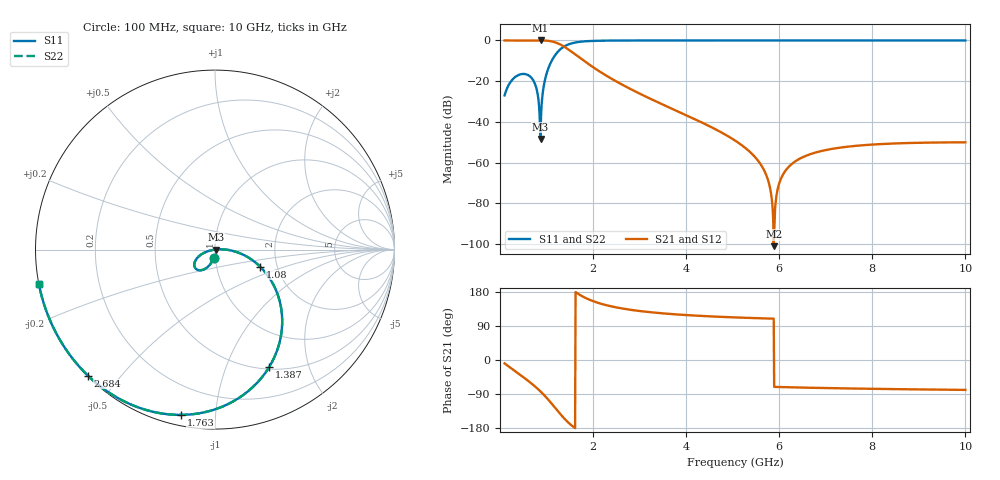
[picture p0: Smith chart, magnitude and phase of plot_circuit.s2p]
!Created with skrf (http://scikit-rf.org).
# GHz S RI R 50.0
!freq ReS11 ImS11 ReS21 ImS21 ReS12 ImS12 ReS22 ImS22
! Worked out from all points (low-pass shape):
!   1001 points, 100 MHz to 10 GHz, reference 50 ohm
!   highest |S21| = 0.00 dB at 872.2 MHz (marker M1); lowest = -101.0 dB at 5.882 GHz (marker M2)
!   |S21| within 3 dB of the highest: start of sweep to 1.376 GHz
!   lowest |S11| = -48.3 dB at 872.2 MHz (marker M3), VSWR 1.01, Z = 50.4 + j0.0464 ohm
!   |S11| at or under -10 dB: start of sweep to 1.111 GHz
!   |S22| runs from -48.3 to 0.0 dB; largest |S21 - S12| = 9e-16
!   S11 on the Smith chart (normalised r, x): 100 MHz: 0.98, -0.09; 1.08 GHz: 1.63, -0.33; 1.387 GHz: 0.53, -1.43; 1.763 GHz: 0.05, -0.82; 2.684 GHz: 0.00, -0.41; 10 GHz: 0.00, -0.10
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0.1  -0.00699 -0.0442  0.9867 -0.1562  0.9867 -0.1562  -0.00699 -0.0442
0.3178  -0.0593 -0.1091  0.8718 -0.4739  0.8718 -0.4739  -0.0593 -0.1091
0.5851  -0.1155 -0.0872  0.5961 -0.7897  0.5961 -0.7897  -0.1155 -0.0872
0.7435  -0.0847 -0.033  0.3615 -0.9279  0.3615 -0.9279  -0.0847 -0.033
0.793  -0.0582 -0.0166  0.2745 -0.9597  0.2745 -0.9597  -0.0582 -0.0166
0.8326  -0.0302 -0.00616  0.1996 -0.9794  0.1996 -0.9794  -0.0302 -0.00616
0.8722  0.00381 0.000461  0.1201 -0.9927  0.1201 -0.9927  0.00381 0.000461
0.9712  0.1127 -0.0109  -0.0956 -0.989  -0.0956 -0.989  0.1127 -0.0109
1.0801  0.2505 -0.0943  -0.3395 -0.9017  -0.3395 -0.9017  0.2505 -0.0943
1.387  0.3034 -0.6517  -0.6302 -0.2934  -0.6302 -0.2934  0.3034 -0.6517
1.7533  -0.1754 -0.9206  -0.3427 0.0653  -0.3427 0.0653  -0.1754 -0.9206
1.7632  -0.1867 -0.9209  -0.3354 0.068  -0.3354 0.068  -0.1867 -0.9209
2.6839  -0.708 -0.7022  -0.0534 0.0538  -0.0534 0.0538  -0.708 -0.7022
3.4066  -0.8281 -0.5598  -0.0167 0.0248  -0.0167 0.0248  -0.8281 -0.5598
5.05  -0.9249 -0.3801  -0.00133 0.00324  -0.00133 0.00324  -0.9249 -0.3801
5.6143  -0.9396 -0.3422  -0.000296 0.000812  -0.000296 0.000812  -0.9396 -0.3422
5.743  -0.9424 -0.3346  -0.000143 0.000403  -0.000143 0.000403  -0.9424 -0.3346
5.8816  -0.9451 -0.3267  -2.92e-06 8.45e-06  -2.92e-06 8.45e-06  -0.9451 -0.3267
6.1588  -0.95 -0.3121  0.000216 -0.000657  0.000216 -0.000657  -0.95 -0.3121
6.7033  -0.958 -0.2869  0.000479 -0.0016  0.000479 -0.0016  -0.958 -0.2869
8.3566  -0.9731 -0.2303  0.000674 -0.00285  0.000674 -0.00285  -0.9731 -0.2303
10  -0.9813 -0.1926  0.000609 -0.0031  0.000609 -0.0031  -0.9813 -0.1926
